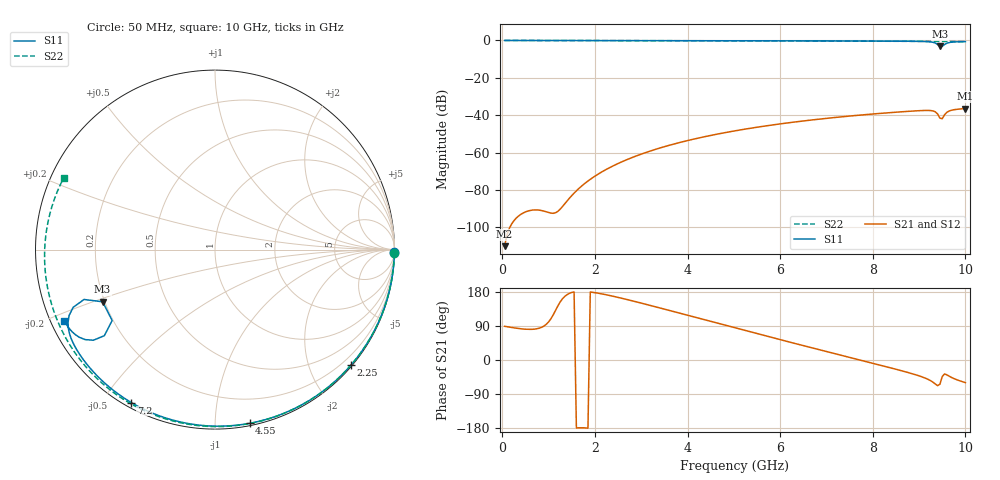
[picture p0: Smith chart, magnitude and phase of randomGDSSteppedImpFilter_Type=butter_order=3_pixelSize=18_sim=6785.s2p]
! freq	dB(S11)	phase(S11)	dB(S12)	phase(S12)
!  dB(S21)	phase(S21)	dB(S22)	phase(S22)
!S-par simulation data
#  GHz  S  DB  R 50
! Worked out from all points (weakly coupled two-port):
!   200 points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, 50 MHz to 10 GHz, reference 50 ohm
!   highest |S21| = -36.43 dB at 10 GHz (marker M1); lowest = -110.1 dB at 50 MHz (marker M2)
!   lowest |S11| = -3.2 dB at 9.45 GHz (marker M3), VSWR 5.46, Z = 9.59 - j10.6 ohm
!   |S11| at or under -10 dB: nowhere
!   |S22| runs from -0.6 to 0.0 dB; largest |S21 - S12| = 0
!   S11 on the Smith chart (normalised r, x): 50 MHz: open; 2.25 GHz: 0.02, -2.71; 4.55 GHz: 0.02, -1.22; 7.2 GHz: 0.02, -0.59; 10 GHz: 0.04, -0.23
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0.05  -0.00 -0.9  -110.11 88.9  -110.11 88.9  -0.00 -1.2
0.8  -0.02 -14.6  -90.83 84.0  -90.83 84.0  -0.02 -19.3
1.6  -0.04 -29.0  -80.48 -179.3  -80.48 -179.3  -0.05 -38.2
1.75  -0.04 -31.7  -77.16 -178.9  -77.16 -178.9  -0.05 -41.7
2.25  -0.05 -40.5  -68.96 172.0  -68.96 172.0  -0.07 -53.1
2.75  -0.06 -49.1  -63.19 157.9  -63.19 157.9  -0.08 -64.2
3.4  -0.08 -60.1  -57.59 137.5  -57.59 137.5  -0.10 -78.2
4.55  -0.11 -78.7  -50.59 100.2  -50.59 100.2  -0.14 -101.6
5.05  -0.13 -86.6  -48.27 84.0  -48.27 84.0  -0.17 -111.3
6.7  -0.22 -111.4  -42.51 31.7  -42.51 31.7  -0.27 -142.3
7.2  -0.25 -118.7  -41.19 16.1  -41.19 16.1  -0.31 -151.5
8.35  -0.35 -135.7  -38.68 -19.6  -38.68 -19.6  -0.41 -172.8
8.95  -0.46 -145.8  -37.66 -39.9  -37.66 -39.9  -0.48 175.7
9.25  -0.78 -153.6  -37.53 -54.7  -37.53 -54.7  -0.51 169.8
9.35  -1.38 -157.9  -38.19 -63.3  -38.19 -63.3  -0.53 167.8
9.4  -2.15 -159.2  -39.35 -67.8  -39.35 -67.8  -0.53 166.8
9.45  -3.22 -155.1  -41.58 -64.0  -41.58 -64.0  -0.54 165.9
9.5  -3.15 -145.4  -41.88 -43.6  -41.88 -43.6  -0.54 164.8
9.55  -2.14 -142.1  -39.78 -36.8  -39.78 -36.8  -0.55 163.8
9.6  -1.47 -143.3  -38.46 -39.2  -38.46 -39.2  -0.55 162.8
9.75  -0.81 -148.6  -37.09 -48.9  -37.09 -48.9  -0.57 159.8
10  -0.64 -154.5  -36.43 -59.7  -36.43 -59.7  -0.60 154.6
